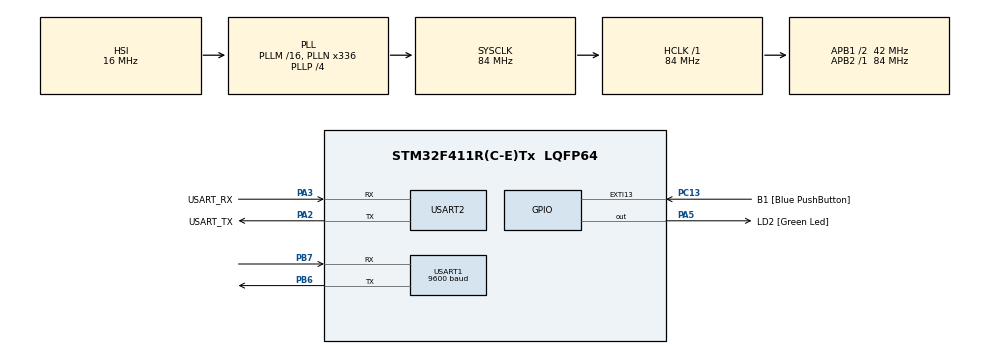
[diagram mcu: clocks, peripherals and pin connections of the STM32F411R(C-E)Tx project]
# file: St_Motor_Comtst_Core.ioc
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Mcu.Family=STM32F4
Mcu.Name=STM32F411R(C-E)Tx
Mcu.Package=LQFP64
NVIC.PriorityGroup=NVIC_PRIORITYGROUP_0
NVIC.TIM1_TRG_COM_TIM11_IRQn=true\:0\:0\:false\:false\:true\:true
NVIC.TIM1_UP_TIM10_IRQn=true\:0\:0\:false\:false\:true\:true
NVIC.USART1_IRQn=true\:0\:0\:false\:false\:true\:true
PA13.GPIO_Label=TMS
PA13.Mode=Serial_Wire
PA13.Signal=SYS_JTMS-SWDIO
PA14.GPIO_Label=TCK
PA14.Mode=Serial_Wire
PA14.Signal=SYS_JTCK-SWCLK
PA2.GPIO_Label=USART_TX
PA2.Mode=Asynchronous
PA2.Signal=USART2_TX
PA3.GPIO_Label=USART_RX
PA3.Mode=Asynchronous
PA3.Signal=USART2_RX
PA5.GPIO_Label=LD2 [Green Led]
PA5.Signal=GPIO_Output
PB3.GPIO_Label=SWO
PB3.Signal=SYS_JTDO-SWO
PB6.Mode=Asynchronous
PB6.Signal=USART1_TX
PB7.Mode=Asynchronous
PB7.Signal=USART1_RX
PC13-ANTI_TAMP.GPIO_Label=B1 [Blue PushButton]
PC13-ANTI_TAMP.GPIO_ModeDefaultEXTI=GPIO_MODE_IT_FALLING
PC13-ANTI_TAMP.Signal=GPXTI13
PC14-OSC32_IN.Mode=LSE-External-Oscillator
PC14-OSC32_IN.Signal=RCC_OSC32_IN
PC15-OSC32_OUT.Mode=LSE-External-Oscillator
PC15-OSC32_OUT.Signal=RCC_OSC32_OUT
PH0\ -\ OSC_IN.Mode=HSE-External-Clock-Source
PH0\ -\ OSC_IN.Signal=RCC_OSC_IN
PH1\ -\ OSC_OUT.Mode=HSE-External-Clock-Source
PH1\ -\ OSC_OUT.Signal=RCC_OSC_OUT
ProjectManager.HeapSize=0x200
ProjectManager.StackSize=0x400
ProjectManager.TargetToolchain=SW4STM32
RCC.48MHZClocksFreq_Value=84000000
RCC.AHBFreq_Value=84000000
RCC.APB1CLKDivider=RCC_HCLK_DIV2
RCC.APB1Freq_Value=42000000
RCC.APB1TimFreq_Value=84000000
RCC.APB2Freq_Value=84000000
RCC.APB2TimFreq_Value=84000000
RCC.CortexFreq_Value=84000000
RCC.FLatency-AdvancedSettings=FLASH_LATENCY_2
RCC.HCLKFreq_Value=84000000
RCC.HSE_VALUE=8000000
RCC.HSI_VALUE=16000000
RCC.PLLN=336
RCC.PLLP=RCC_PLLP_DIV4
RCC.SYSCLKFreq_VALUE=84000000
RCC.SYSCLKSource=RCC_SYSCLKSOURCE_PLLCLK
RCC.VCOOutputFreq_Value=336000000
TIM10.Period=26249
TIM10.Prescaler=64
TIM11.Period=1285
TIM11.Prescaler=65535
USART1.BaudRate=9600
USART1.VirtualMode=VM_ASYNC
USART2.VirtualMode=VM_ASYNC
VP_TIM10_VS_ClockSourceINT.Mode=Enable_Timer
VP_TIM11_VS_ClockSourceINT.Mode=Enable_Timer
board=NUCLEO-F411RE

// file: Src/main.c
/**
  ******************************************************************************
  * @file           : main.c
  * @brief          : Main program body
  ******************************************************************************
  ** This notice applies to any and all portions of this file
  * that are not between comment pairs USER CODE BEGIN and
  * USER CODE END. Other portions of this file, whether
  * inserted by the user or by software development tools
  * are owned by their respective copyright owners.
  *
  * COPYRIGHT(c) 2018 STMicroelectronics
  *
  * Redistribution and use in source and binary forms, with or without modification,
  * are permitted provided that the following conditions are met:
  *   1. Redistributions of source code must retain the above copyright notice,
  *      this list of conditions and the following disclaimer.
  *   2. Redistributions in binary form must reproduce the above copyright notice,
  *      this list of conditions and the following disclaimer in the documentation
  *      and/or other materials provided with the distribution.
  *   3. Neither the name of STMicroelectronics nor the names of its contributors
  *      may be used to endorse or promote products derived from this software
  *      without specific prior written permission.
  *
  * THIS SOFTWARE IS PROVIDED BY THE COPYRIGHT HOLDERS AND CONTRIBUTORS "AS IS"
  * AND ANY EXPRESS OR IMPLIED WARRANTIES, INCLUDING, BUT NOT LIMITED TO, THE
  * IMPLIED WARRANTIES OF MERCHANTABILITY AND FITNESS FOR A PARTICULAR PURPOSE ARE
  * DISCLAIMED. IN NO EVENT SHALL THE COPYRIGHT HOLDER OR CONTRIBUTORS BE LIABLE
  * FOR ANY DIRECT, INDIRECT, INCIDENTAL, SPECIAL, EXEMPLARY, OR CONSEQUENTIAL
  * DAMAGES (INCLUDING, BUT NOT LIMITED TO, PROCUREMENT OF SUBSTITUTE GOODS OR
  * SERVICES; LOSS OF USE, DATA, OR PROFITS; OR BUSINESS INTERRUPTION) HOWEVER
  * CAUSED AND ON ANY THEORY OF LIABILITY, WHETHER IN CONTRACT, STRICT LIABILITY,
  * OR TORT (INCLUDING NEGLIGENCE OR OTHERWISE) ARISING IN ANY WAY OUT OF THE USE
  * OF THIS SOFTWARE, EVEN IF ADVISED OF THE POSSIBILITY OF SUCH DAMAGE.
  *
  ******************************************************************************
  */
#include "main.h"
#include "stm32f4xx_hal.h"

/* USER CODE BEGIN Includes */
#include <string.h>
#include "Comms.h"
/* USER CODE END Includes */

TIM_HandleTypeDef htim10;
TIM_HandleTypeDef htim11;

UART_HandleTypeDef huart1;
UART_HandleTypeDef huart2;

/* USER CODE BEGIN PV */
/* Private variables ---------------------------------------------------------*/

/* USER CODE END PV */

void SystemClock_Config(void);
static void MX_GPIO_Init(void);
static void MX_USART2_UART_Init(void);
static void MX_USART1_UART_Init(void);
static void MX_TIM11_Init(void);
static void MX_TIM10_Init(void);

/* USER CODE BEGIN PFP */
/* Private function prototypes -----------------------------------------------*/
uint8_t Received[8];
char Template[]="Light_go";
incoming_buffer buffer;
int size=16;

void HAL_UART_RxCpltCallback(UART_HandleTypeDef *huart) {

 // Tablica przechowujaca wysylana wiadomosc.
 //uint16_t size = 0; // Rozmiar wysylanej wiadomosci
//HAL_UART_Transmit_IT(&huart1, buffer.Last_Msg, size); // Rozpoczecie nadawania danych z wykorzystaniem przerwan
 //HAL_UART_Transmit_IT(&huart1, "\n" , size); // Rozpoczecie nadawania danych z wykorzystaniem przerwan

// HAL_UART_Transmit_IT(&huart1, "\n" , size); // Rozpoczecie nadawania danych z wykorzystaniem przerwan

 	 gather(&buffer);

	 HAL_UART_Receive_IT(&huart1, &buffer.Byte, 1);

}

void HAL_TIM_PeriodElapsedCallback(TIM_HandleTypeDef *htim)
{
	if(htim->Instance == TIM10)
	{

			if(buffer.flag==1)
			{
				HAL_GPIO_TogglePin(LD2_GPIO_Port,LD2_Pin);
				HAL_UART_Transmit_IT(&huart1, buffer.Send_, size);

				buffer.flag=0;
			}
	}

}

/* USER CODE END PFP */

int main(void)
{
  /* USER CODE BEGIN 1 */
	buffer.status=0;
	buffer.Send_[0]='\0';
  /* USER CODE END 1 */

  /* MCU Configuration----------------------------------------------------------*/

  /* Reset of all peripherals, Initializes the Flash interface and the Systick. */
  HAL_Init();

  /* Configure the system clock */
  SystemClock_Config();

  /* Initialize all configured peripherals */
  MX_GPIO_Init();
  MX_USART2_UART_Init();
  MX_USART1_UART_Init();
  MX_TIM11_Init();
  MX_TIM10_Init();
  /* USER CODE BEGIN 2 */
  HAL_UART_Receive_IT(&huart1, &buffer.Byte, 1);

  HAL_TIM_Base_Start_IT(&htim10);
  /* USER CODE END 2 */

  /* Infinite loop */
  while (1)
  {

  }

}

void SystemClock_Config(void)
{

  RCC_OscInitTypeDef RCC_OscInitStruct;
  RCC_ClkInitTypeDef RCC_ClkInitStruct;

    /**Configure the main internal regulator output voltage
    */
  __HAL_RCC_PWR_CLK_ENABLE();

  __HAL_PWR_VOLTAGESCALING_CONFIG(PWR_REGULATOR_VOLTAGE_SCALE1);

    /**Initializes the CPU, AHB and APB busses clocks
    */
  RCC_OscInitStruct.OscillatorType = RCC_OSCILLATORTYPE_HSI;
  RCC_OscInitStruct.HSIState = RCC_HSI_ON;
  RCC_OscInitStruct.HSICalibrationValue = 16;
  RCC_OscInitStruct.PLL.PLLState = RCC_PLL_ON;
  RCC_OscInitStruct.PLL.PLLSource = RCC_PLLSOURCE_HSI;
  RCC_OscInitStruct.PLL.PLLM = 16;
  RCC_OscInitStruct.PLL.PLLN = 336;
  RCC_OscInitStruct.PLL.PLLP = RCC_PLLP_DIV4;
  RCC_OscInitStruct.PLL.PLLQ = 4;
  if (HAL_RCC_OscConfig(&RCC_OscInitStruct) != HAL_OK)
  {
    _Error_Handler(__FILE__, __LINE__);
  }

    /**Initializes the CPU, AHB and APB busses clocks
    */
  RCC_ClkInitStruct.ClockType = RCC_CLOCKTYPE_HCLK|RCC_CLOCKTYPE_SYSCLK
                              |RCC_CLOCKTYPE_PCLK1|RCC_CLOCKTYPE_PCLK2;
  RCC_ClkInitStruct.SYSCLKSource = RCC_SYSCLKSOURCE_PLLCLK;
  RCC_ClkInitStruct.AHBCLKDivider = RCC_SYSCLK_DIV1;
  RCC_ClkInitStruct.APB1CLKDivider = RCC_HCLK_DIV2;
  RCC_ClkInitStruct.APB2CLKDivider = RCC_HCLK_DIV1;

  if (HAL_RCC_ClockConfig(&RCC_ClkInitStruct, FLASH_LATENCY_2) != HAL_OK)
  {
    _Error_Handler(__FILE__, __LINE__);
  }

    /**Configure the Systick interrupt time
    */
  HAL_SYSTICK_Config(HAL_RCC_GetHCLKFreq()/1000);

    /**Configure the Systick
    */
  HAL_SYSTICK_CLKSourceConfig(SYSTICK_CLKSOURCE_HCLK);

  /* SysTick_IRQn interrupt configuration */
  HAL_NVIC_SetPriority(SysTick_IRQn, 0, 0);
}

/* TIM10 init function */
static void MX_TIM10_Init(void)
{

  htim10.Instance = TIM10;
  htim10.Init.Prescaler = 64;
  htim10.Init.CounterMode = TIM_COUNTERMODE_UP;
  htim10.Init.Period = 26249;
  htim10.Init.ClockDivision = TIM_CLOCKDIVISION_DIV1;
  if (HAL_TIM_Base_Init(&htim10) != HAL_OK)
  {
    _Error_Handler(__FILE__, __LINE__);
  }

}

/* TIM11 init function */
static void MX_TIM11_Init(void)
{

  htim11.Instance = TIM11;
  htim11.Init.Prescaler = 65535;
  htim11.Init.CounterMode = TIM_COUNTERMODE_UP;
  htim11.Init.Period = 1285;
  htim11.Init.ClockDivision = TIM_CLOCKDIVISION_DIV1;
  if (HAL_TIM_Base_Init(&htim11) != HAL_OK)
  {
    _Error_Handler(__FILE__, __LINE__);
  }

}

/* USART1 init function */
static void MX_USART1_UART_Init(void)
{

  huart1.Instance = USART1;
  huart1.Init.BaudRate = 9600;
  huart1.Init.WordLength = UART_WORDLENGTH_8B;
  huart1.Init.StopBits = UART_STOPBITS_1;
  huart1.Init.Parity = UART_PARITY_NONE;
  huart1.Init.Mode = UART_MODE_TX_RX;
  huart1.Init.HwFlowCtl = UART_HWCONTROL_NONE;
  huart1.Init.OverSampling = UART_OVERSAMPLING_16;
  if (HAL_UART_Init(&huart1) != HAL_OK)
  {
    _Error_Handler(__FILE__, __LINE__);
  }

}

/* USART2 init function */
static void MX_USART2_UART_Init(void)
{

  huart2.Instance = USART2;
  huart2.Init.BaudRate = 115200;
  huart2.Init.WordLength = UART_WORDLENGTH_8B;
  huart2.Init.StopBits = UART_STOPBITS_1;
  huart2.Init.Parity = UART_PARITY_NONE;
  huart2.Init.Mode = UART_MODE_TX_RX;
  huart2.Init.HwFlowCtl = UART_HWCONTROL_NONE;
  huart2.Init.OverSampling = UART_OVERSAMPLING_16;
  if (HAL_UART_Init(&huart2) != HAL_OK)
  {
    _Error_Handler(__FILE__, __LINE__);
  }

}

/** Configure pins as
        * Analog
        * Input
        * Output
        * EVENT_OUT
        * EXTI
*/
static void MX_GPIO_Init(void)
{

  GPIO_InitTypeDef GPIO_InitStruct;

  /* GPIO Ports Clock Enable */
  __HAL_RCC_GPIOC_CLK_ENABLE();
  __HAL_RCC_GPIOH_CLK_ENABLE();
  __HAL_RCC_GPIOA_CLK_ENABLE();
  __HAL_RCC_GPIOB_CLK_ENABLE();

  /*Configure GPIO pin Output Level */
  HAL_GPIO_WritePin(LD2_GPIO_Port, LD2_Pin, GPIO_PIN_RESET);

  /*Configure GPIO pin : B1_Pin */
  GPIO_InitStruct.Pin = B1_Pin;
  GPIO_InitStruct.Mode = GPIO_MODE_IT_FALLING;
  GPIO_InitStruct.Pull = GPIO_NOPULL;
  HAL_GPIO_Init(B1_GPIO_Port, &GPIO_InitStruct);

  /*Configure GPIO pin : LD2_Pin */
  GPIO_InitStruct.Pin = LD2_Pin;
  GPIO_InitStruct.Mode = GPIO_MODE_OUTPUT_PP;
  GPIO_InitStruct.Pull = GPIO_NOPULL;
  GPIO_InitStruct.Speed = GPIO_SPEED_FREQ_LOW;
  HAL_GPIO_Init(LD2_GPIO_Port, &GPIO_InitStruct);

}

void _Error_Handler(char *file, int line)
{
  while(1)
  {
  }
}

/************************ (C) COPYRIGHT STMicroelectronics *****END OF FILE****/
